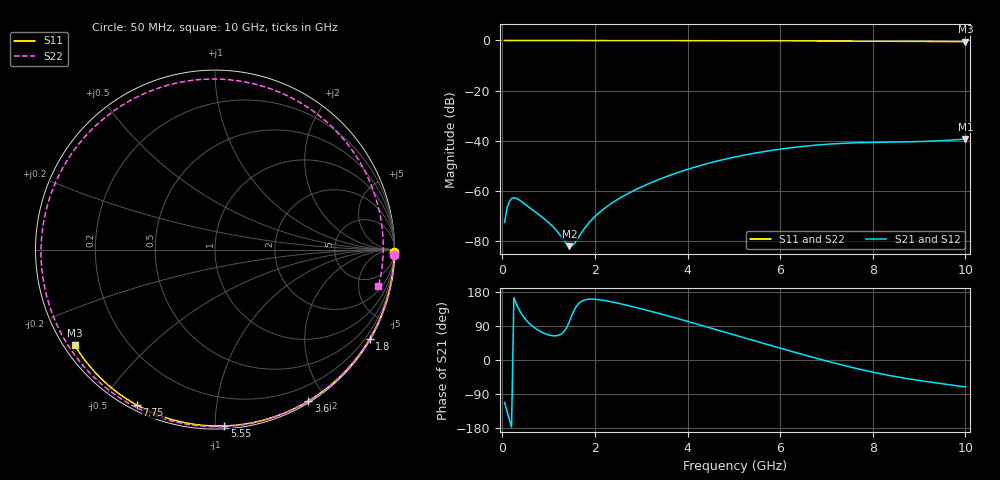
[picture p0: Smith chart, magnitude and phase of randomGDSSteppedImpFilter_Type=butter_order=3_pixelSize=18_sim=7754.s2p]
! freq	dB(S11)	phase(S11)	dB(S12)	phase(S12)
!  dB(S21)	phase(S21)	dB(S22)	phase(S22)
!S-par simulation data
#  GHz  S  DB  R 50
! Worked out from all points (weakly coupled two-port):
!   200 points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, 50 MHz to 10 GHz, reference 50 ohm
!   highest |S21| = -39.39 dB at 10 GHz (marker M1); lowest = -82.2 dB at 1.45 GHz (marker M2)
!   lowest |S11| = -0.5 dB at 10 GHz (marker M3), VSWR 35.79, Z = 1.53 - j15.4 ohm
!   |S11| at or under -10 dB: nowhere
!   |S22| runs from -0.6 to 0.0 dB; largest |S21 - S12| = 0
!   S11 on the Smith chart (normalised r, x): 50 MHz: open; 1.8 GHz: 0.03, -3.74; 3.6 GHz: 0.02, -1.79; 5.55 GHz: 0.02, -1.05; 7.75 GHz: 0.02, -0.62; 10 GHz: 0.03, -0.31
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0.05  -0.00 -0.8  -72.66 -111.9  -72.66 -111.9  -0.00 -1.8
0.1  -0.00 -1.7  -67.06 -134.1  -67.06 -134.1  -0.00 -3.6
0.15  -0.00 -2.5  -64.37 -156.2  -64.37 -156.2  -0.00 -5.4
0.3  -0.00 -5.1  -63.02 148.7  -63.02 148.7  -0.01 -10.7
1  -0.02 -16.8  -72.75 66.2  -72.75 66.2  -0.04 -35.4
1.35  -0.03 -22.6  -80.34 78.0  -80.34 78.0  -0.06 -47.6
1.45  -0.03 -24.2  -82.17 101.8  -82.17 101.8  -0.06 -51.0
1.6  -0.03 -26.7  -79.97 141.8  -79.97 141.8  -0.07 -56.2
1.75  -0.04 -29.1  -75.72 157.3  -75.72 157.3  -0.08 -61.3
1.8  -0.04 -29.9  -74.46 159.2  -74.46 159.2  -0.08 -63.0
2.4  -0.05 -39.6  -64.55 152.4  -64.55 152.4  -0.10 -83.1
3.4  -0.07 -55.3  -55.38 122.2  -55.38 122.2  -0.15 -116.0
3.6  -0.08 -58.4  -53.98 115.6  -53.98 115.6  -0.16 -122.6
4.35  -0.10 -69.7  -49.56 89.6  -49.56 89.6  -0.20 -147.2
5.05  -0.12 -79.8  -46.44 64.6  -46.44 64.6  -0.25 -170.9
5.55  -0.14 -86.9  -44.70 46.8  -44.70 46.8  -0.29 171.4
6.7  -0.20 -102.7  -41.93 7.4  -41.93 7.4  -0.38 127.3
7.25  -0.23 -110.1  -41.18 -10.5  -41.18 -10.5  -0.42 104.3
7.75  -0.27 -116.6  -40.81 -25.4  -40.81 -25.4  -0.45 82.6
8.35  -0.32 -124.4  -40.60 -40.7  -40.60 -40.7  -0.48 56.1
9.2  -0.40 -135.3  -40.26 -57.5  -40.26 -57.5  -0.53 19.2
10  -0.49 -145.6  -39.39 -71.1  -39.39 -71.1  -0.60 -12.7
